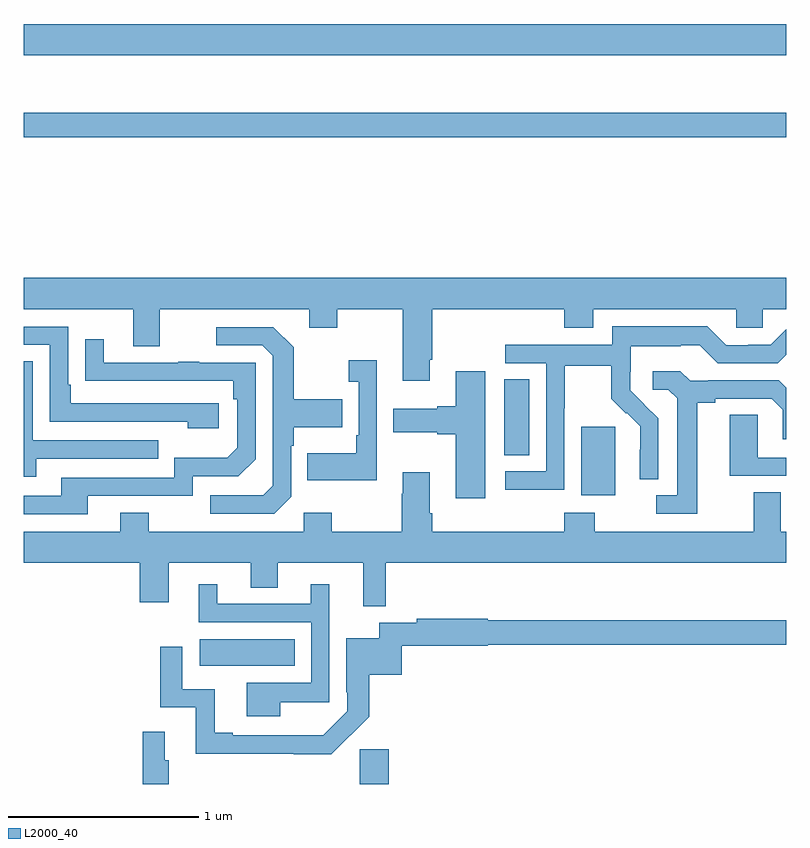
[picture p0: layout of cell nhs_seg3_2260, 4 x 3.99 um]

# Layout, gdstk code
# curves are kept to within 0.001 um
import gdstk
lib = gdstk.Library(unit=1e-6, precision=1e-09)
def R(c, l, rs):  # rectangles x0, y0, x1, y1
    for r in rs: c.add(gdstk.rectangle(r[:2], r[2:], *l))
def P(c, l, *ps):  # polygons
    for p in ps: c.add(gdstk.Polygon(p, *l))
L2000_40 = (2000, 40)

nhs_seg3_2260 = lib.new_cell('nhs_seg3_2260')
R(nhs_seg3_2260, L2000_40, [(228.763,722.4,228.914,722.583), (227.922,723.02,228.422,723.16), (229.925,723.914,230.104,724.275), (229.52,724.126,229.651,724.523), (227,725.794,231,725.923), (227,726.224,231,726.388)])
P(nhs_seg3_2260, L2000_40, [(229.129,724.627),(229.142,724.627),(229.142,724.892),(229.835,724.892),(229.835,724.793),(229.987,724.793),(229.987,724.892),(230.739,724.892),(230.739,724.794),(230.877,724.794),(230.877,724.892),(231,724.892),(231,725.056),(227,725.056),(227,724.892),(227.573,724.892),(227.573,724.698),(227.713,724.698),(227.713,724.892),(228.497,724.892),(228.497,724.793),(228.645,724.793),(228.645,724.892),(228.989,724.892),(228.989,724.515),(229.129,724.515)],
  [(229.836,724.372),(229.839,724.372),(229.839,724.596),(230.083,724.596),(230.083,724.421),(230.16,724.344),(230.163,724.347),(230.234,724.277),(230.234,724.154),(230.232,724.154),(230.232,724),(230.328,724),(230.328,724.318),(230.182,724.466),(230.182,724.563),(230.184,724.563),(230.184,724.697),(230.447,724.697),(230.447,724.701),(230.547,724.701),(230.64,724.608),(230.955,724.608),(231,724.653),(231,724.785),(230.919,724.704),(230.801,724.704),(230.801,724.701),(230.685,724.701),(230.585,724.801),(230.088,724.801),(230.088,724.704),(229.527,724.704),(229.527,724.608),(229.74,724.608),(229.74,724.041),(229.527,724.041),(229.527,723.943),(229.836,723.943)],
  [(228.022,724.398),(227.245,724.398),(227.245,724.495),(227.232,724.495),(227.232,724.8),(227,724.8),(227,724.704),(227.136,724.704),(227.136,724.302),(227.861,724.302),(227.861,724.268),(228.022,724.268)],
  [(228.402,723.906),(228.402,724.175),(228.415,724.175),(228.415,724.271),(228.671,724.271),(228.671,724.419),(228.415,724.419),(228.415,724.691),(228.309,724.797),(228.009,724.797),(228.009,724.701),(228.252,724.701),(228.306,724.647),(228.306,723.966),(228.255,723.915),(227.979,723.915),(227.979,723.819),(228.315,723.819)],
  [(227.335,723.912),(227.886,723.912),(227.886,724.014),(228.126,724.014),(228.216,724.104),(228.216,724.611),(227.921,724.611),(227.921,724.616),(227.809,724.616),(227.809,724.611),(227.419,724.611),(227.419,724.735),(227.323,724.735),(227.323,724.516),(228.1,724.515),(228.1,724.418),(228.12,724.418),(228.12,724.164),(228.067,724.111),(227.79,724.111),(227.79,724.008),(227.195,724.008),(227.195,723.912),(227,723.912),(227,723.816),(227.335,723.816)],
  [(228.852,724.624),(228.705,724.624),(228.705,724.511),(228.756,724.511),(228.756,724.231),(228.744,724.231),(228.744,724.135),(228.487,724.135),(228.487,723.995),(228.852,723.995)],
  [(227.065,724.107),(227.705,724.107),(227.705,724.203),(227.046,724.203),(227.046,724.619),(227,724.619),(227,724.013),(227.065,724.013)],
  [(229.42,724.567),(229.265,724.567),(229.265,724.382),(229.169,724.382),(229.169,724.369),(228.939,724.369),(228.939,724.247),(229.169,724.247),(229.169,724.235),(229.265,724.235),(229.265,723.9),(229.42,723.9)],
  [(230.533,724.4),(230.629,724.4),(230.629,724.422),(230.924,724.422),(230.981,724.365),(230.981,724.209),(231,724.209),(231,724.48),(230.962,724.518),(230.59,724.518),(230.59,724.515),(230.496,724.515),(230.444,724.567),(230.301,724.567),(230.301,724.47),(230.382,724.47),(230.429,724.423),(230.429,723.915),(230.319,723.915),(230.319,723.819),(230.533,723.819)],
  [(231,724.113),(230.85,724.113),(230.85,724.337),(230.705,724.337),(230.705,724.017),(231,724.017)],
  [(227.655,723.823),(227.507,723.823),(227.507,723.724),(227,723.724),(227,723.56),(227.609,723.56),(227.609,723.354),(227.761,723.354),(227.761,723.56),(228.191,723.56),(228.191,723.43),(228.331,723.43),(228.331,723.56),(228.782,723.56),(228.782,723.332),(228.899,723.332),(228.899,723.56),(231,723.56),(231,723.724),(230.971,723.724),(230.971,723.932),(230.831,723.932),(230.831,723.724),(229.995,723.724),(229.995,723.823),(229.835,723.823),(229.835,723.724),(229.142,723.724),(229.142,723.82),(229.129,723.82),(229.129,724.036),(228.989,724.036),(228.989,723.923),(228.982,723.923),(228.982,723.724),(228.615,723.724),(228.615,723.823),(228.468,723.823),(228.468,723.724),(227.655,723.724)],
  [(228.346,722.828),(228.603,722.828),(228.603,723.448),(228.506,723.448),(228.506,723.345),(228.016,723.345),(228.016,723.448),(227.918,723.448),(227.918,723.249),(228.507,723.249),(228.507,722.932),(228.17,722.932),(228.17,722.756),(228.346,722.756)],
  [(228.812,722.753),(228.812,722.972),(228.982,722.972),(228.982,723.125),(229.434,723.125),(229.434,723.13),(231,723.13),(231,723.259),(229.434,723.259),(229.434,723.267),(229.062,723.267),(229.062,723.247),(228.866,723.247),(228.866,723.166),(228.693,723.166),(228.693,722.881),(228.696,722.881),(228.696,722.781),(228.571,722.656),(228.097,722.655),(228.097,722.668),(228.001,722.668),(228.001,722.898),(227.832,722.898),(227.832,723.121),(227.716,723.121),(227.716,722.802),(227.903,722.802),(227.903,722.558),(228.415,722.558),(228.415,722.556),(228.614,722.556)],
  [(227.759,722.525),(227.74,722.525),(227.74,722.674),(227.623,722.674),(227.623,722.4),(227.759,722.4)])

lib.write_gds('nhs_seg3_2260.gds')
